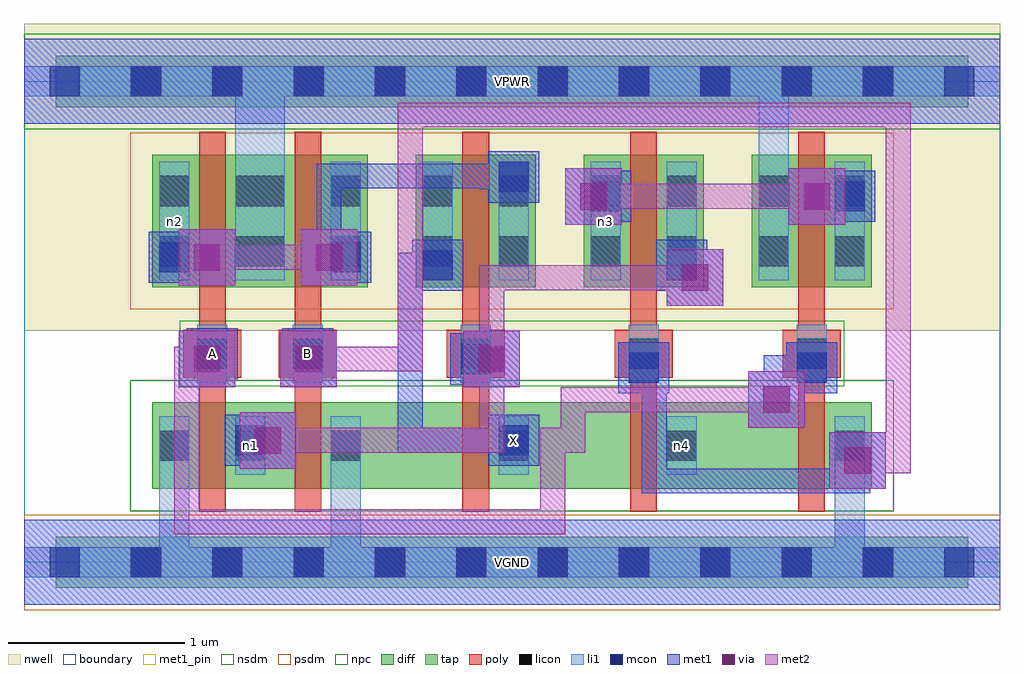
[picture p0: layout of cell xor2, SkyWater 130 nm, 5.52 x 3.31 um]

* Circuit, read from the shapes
.subckt xor2 A B VGND VPWR X n1 n2 n3 n4
XM1 n1 A VGND VGND sky130_fd_pr__nfet_01v8 w=0.49 l=0.15
XM2 VGND B n1 VGND sky130_fd_pr__nfet_01v8 w=0.49 l=0.15
XM3 X n1 VGND VGND sky130_fd_pr__nfet_01v8 w=0.49 l=0.15
XM4 n4 B X VGND sky130_fd_pr__nfet_01v8 w=0.49 l=0.15
XM5 VGND A n4 VGND sky130_fd_pr__nfet_01v8 w=0.49 l=0.15
XM6 VPWR A n2 VPWR sky130_fd_pr__pfet_01v8 w=0.75 l=0.15
XM7 n2 B VPWR VPWR sky130_fd_pr__pfet_01v8 w=0.75 l=0.15
XM8 n2 n1 X VPWR sky130_fd_pr__pfet_01v8 w=0.75 l=0.15
XM9 n1 B n3 VPWR sky130_fd_pr__pfet_01v8 w=0.75 l=0.15
XM10 n3 A VPWR VPWR sky130_fd_pr__pfet_01v8 w=0.75 l=0.15
.ends

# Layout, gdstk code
import gdstk
lib = gdstk.Library(unit=1e-6, precision=1e-09)
def R(c, l, rs):  # rectangles x0, y0, x1, y1
    for r in rs: c.add(gdstk.rectangle(r[:2], r[2:], *l))
def A(c, l, x, y, w, h, nx, ny, dx, dy):  # array of equal rectangles
    R(c, l, [(x+i*dx, y+j*dy, x+i*dx+w, y+j*dy+h) for i in range(nx) for j in range(ny)])
nwell = (64, 20)
diff = (65, 20)
tap = (65, 44)
poly = (66, 20)
licon = (66, 44)
li1 = (67, 20)
mcon = (67, 44)
met1_pin = (68, 16)
met1 = (68, 20)
via = (68, 44)
met2 = (69, 20)
nsdm = (93, 44)
psdm = (94, 20)
npc = (95, 20)
boundary = (235, 4)

xor2 = lib.new_cell('xor2')
R(xor2, nwell, [(0,1.31,5.52,3.045)])
A(xor2, diff, 1.265, 1.555, 0.68, 0.75, 4, 1, 0.95, 0)
R(xor2, diff, [(0.725,0.415,4.795,0.905), (0.725,1.555,1.405,2.305)])
R(xor2, tap, [(0.18,-0.145,5.34,0.145), (0.18,2.575,5.34,2.865)])
A(xor2, poly, 1.53, 0.285, 0.15, 2.15, 4, 1, 0.95, 0)
A(xor2, poly, 1.44, 1.045, 0.33, 0.27, 4, 1, 0.95, 0)
R(xor2, poly, [(0.99,0.285,1.14,2.435), (0.9,1.045,1.23,1.315)])
A(xor2, licon, 0.605, -0.085, 0.17, 0.17, 10, 2, 0.46, 2.72)
A(xor2, licon, 1.735, 0.575, 0.17, 0.17, 4, 1, 0.95, 0)
A(xor2, licon, 1.52, 1.095, 0.17, 0.17, 4, 1, 0.95, 0)
R(xor2, licon, [(0.765,0.575,0.935,0.745), (1.195,0.575,1.365,0.745), (0.98,1.095,1.15,1.265), (0.765,1.675,0.935,1.845), (1.195,1.675,1.365,1.845), (1.305,1.675,1.475,1.845), (1.735,1.675,1.905,1.845), (2.255,1.675,2.425,1.845), (2.685,1.675,2.855,1.845), (3.205,1.675,3.375,1.845), (3.635,1.675,3.805,1.845), (4.155,1.675,4.325,1.845), (4.585,1.675,4.755,1.845), (0.765,2.015,0.935,2.185), (1.195,2.015,1.365,2.185), (1.305,2.015,1.475,2.185), (1.735,2.015,1.905,2.185), (2.255,2.015,2.425,2.185), (2.685,2.015,2.855,2.185), (3.205,2.015,3.375,2.185), (3.635,2.015,3.805,2.185), (4.155,2.015,4.325,2.185), (4.585,2.015,4.755,2.185)])
A(xor2, li1, 1.735, 0.495, 0.17, 0.33, 4, 1, 0.95, 0)
A(xor2, li1, 1.52, 1.015, 0.17, 0.33, 4, 1, 0.95, 0)
R(xor2, li1, [(0,-0.085,5.52,0.085), (0.765,-0.085,0.935,0.825), (1.735,-0.085,1.905,0.825), (4.585,-0.085,4.755,0.825), (0.765,0.495,0.935,0.825), (1.195,0.495,1.365,0.825), (0.98,1.015,1.15,1.345), (0.765,1.595,0.935,2.265), (1.195,1.595,1.365,2.265), (1.195,1.595,1.365,2.805), (1.305,1.595,1.475,2.265), (1.305,1.595,1.475,2.805), (1.735,1.595,1.905,2.265), (2.255,1.595,2.425,2.265), (2.685,1.595,2.855,2.265), (3.205,1.595,3.375,2.265), (3.635,1.595,3.805,2.265), (4.155,1.595,4.325,2.265), (4.155,1.595,4.325,2.805), (4.585,1.595,4.755,2.265), (0,2.635,5.52,2.805)])
A(xor2, mcon, 0.145, -0.085, 0.17, 0.17, 12, 2, 0.46, 2.72)
R(xor2, mcon, [(1.195,0.605,1.365,0.775), (2.685,0.605,2.855,0.775), (3.42,1.015,3.59,1.185), (4.37,1.015,4.54,1.185), (2.47,1.065,2.64,1.235), (0.98,1.095,1.15,1.265), (1.52,1.095,1.69,1.265), (2.255,1.595,2.425,1.765), (3.635,1.595,3.805,1.765), (0.765,1.64,0.935,1.81), (1.735,1.64,1.905,1.81), (3.205,1.985,3.375,2.155), (4.585,1.985,4.755,2.155), (2.685,2.095,2.855,2.265)])
R(xor2, met1_pin, [(0,-0.24,5.52,0.24), (2.625,0.545,2.915,0.835), (0.92,1.035,1.21,1.325), (1.46,1.035,1.75,1.325), (0,2.48,5.52,2.96)])
R(xor2, met1, [(0,-0.24,5.52,0.24), (3.495,0.39,3.635,0.99), (3.495,0.39,4.785,0.53), (4.645,0.39,4.785,0.645), (4.555,0.415,4.875,0.735), (1.22,0.53,1.54,0.85), (1.135,0.545,1.425,0.835), (2.625,0.545,2.915,0.835), (1.21,0.62,1.45,0.76), (2.115,0.62,2.715,0.76), (2.115,0.62,2.255,1.565), (2.575,0.62,2.84,0.76), (4.095,0.76,4.415,1.08), (3.495,0.85,3.635,1.17), (4.185,0.85,4.325,1.17), (3.36,0.955,3.65,1.245), (4.31,0.955,4.6,1.245), (0.875,0.99,1.195,1.31), (1.45,0.99,1.77,1.31), (2.485,0.99,2.805,1.31), (2.41,1.005,2.7,1.295), (3.435,1.03,3.635,1.17), (4.185,1.03,4.525,1.17), (0.92,1.035,1.21,1.325), (1.46,1.035,1.75,1.325), (0.965,1.08,1.105,1.22), (1.54,1.08,1.68,1.22), (2.485,1.08,2.715,1.22), (2.115,1.425,2.255,1.75), (3.635,1.45,3.955,1.77), (2.195,1.535,2.485,1.825), (3.575,1.535,3.865,1.825), (3.725,1.54,3.865,1.75), (0.875,1.565,1.195,1.885), (1.565,1.565,1.885,1.885), (0.705,1.58,0.995,1.87), (1.675,1.58,1.965,1.87), (2.115,1.61,2.41,1.75), (3.65,1.61,3.865,1.75), (0.78,1.655,1.105,1.795), (1.655,1.655,1.89,1.795), (1.655,1.655,1.795,2.255), (3.06,1.91,3.38,2.23), (4.325,1.91,4.645,2.23), (3.145,1.925,3.435,2.215), (4.525,1.925,4.815,2.215), (3.15,2,3.36,2.14), (4.415,2,4.74,2.14), (2.625,2.035,2.915,2.325), (2.575,2.11,2.84,2.25), (2.575,2.11,2.715,2.255), (1.655,2.115,2.715,2.255), (0,2.48,5.52,2.96)])
R(xor2, via, [(4.64,0.5,4.79,0.65), (1.305,0.615,1.455,0.765), (4.18,0.845,4.33,0.995), (0.96,1.075,1.11,1.225), (1.535,1.075,1.685,1.225), (2.57,1.075,2.72,1.225), (3.72,1.535,3.87,1.685), (0.96,1.65,1.11,1.8), (1.65,1.65,1.8,1.8), (3.145,1.995,3.295,2.145), (4.41,1.995,4.56,2.145)])
R(xor2, met2, [(0.85,0.16,0.99,1.22), (0.85,0.16,3.06,0.3), (2.92,0.16,3.06,0.76), (4.555,0.415,4.875,0.735), (4.645,0.505,5.015,0.645), (4.875,0.505,5.015,2.6), (1.22,0.53,1.54,0.85), (1.31,0.62,2.715,0.76), (2.575,0.62,2.715,1.22), (2.92,0.62,3.175,0.76), (3.035,0.62,3.175,0.99), (4.095,0.76,4.415,1.08), (3.035,0.85,4.325,0.99), (0.875,0.99,1.195,1.31), (1.45,0.99,1.77,1.31), (2.485,0.99,2.805,1.31), (0.85,1.08,1.105,1.22), (1.54,1.08,2.255,1.22), (2.115,1.08,2.255,2.6), (2.575,1.08,2.715,1.68), (3.635,1.45,3.955,1.77), (2.575,1.54,3.865,1.68), (0.875,1.565,1.195,1.885), (1.565,1.565,1.885,1.885), (0.965,1.655,1.795,1.795), (3.06,1.91,3.38,2.23), (4.325,1.91,4.645,2.23), (3.15,2,4.555,2.14), (2.115,2.46,5.015,2.6)])
R(xor2, nsdm, [(0.6,0.29,4.92,1.03), (0,2.45,5.52,2.99)])
R(xor2, psdm, [(0,-0.27,5.52,0.27), (0.6,1.43,4.92,2.43)])
R(xor2, npc, [(0.88,0.995,4.64,1.365)])
R(xor2, boundary, [(0,0,5.52,2.72)])
xor2.add(gdstk.Label('n1', (1.28,0.66), layer=67, texttype=5))
xor2.add(gdstk.Label('n4', (3.72,0.66), layer=67, texttype=5))
xor2.add(gdstk.Label('n2', (0.85,1.93), layer=67, texttype=5))
xor2.add(gdstk.Label('n3', (3.29,1.93), layer=67, texttype=5))
xor2.add(gdstk.Label('A', (1.065,1.18), layer=68, texttype=5))
xor2.add(gdstk.Label('B', (1.605,1.18), layer=68, texttype=5))
xor2.add(gdstk.Label('X', (2.77,0.69), layer=68, texttype=5))
xor2.add(gdstk.Label('VPWR', (2.76,2.72), layer=68, texttype=5))
xor2.add(gdstk.Label('VGND', (2.76,0), layer=68, texttype=5))
xor2.add(gdstk.Label('A', (1.065,1.18), layer=68, texttype=16))
xor2.add(gdstk.Label('B', (1.605,1.18), layer=68, texttype=16))
xor2.add(gdstk.Label('X', (2.77,0.69), layer=68, texttype=16))
xor2.add(gdstk.Label('VPWR', (2.76,2.72), layer=68, texttype=16))
xor2.add(gdstk.Label('VGND', (2.76,0), layer=68, texttype=16))

lib.write_gds('xor2.gds')
